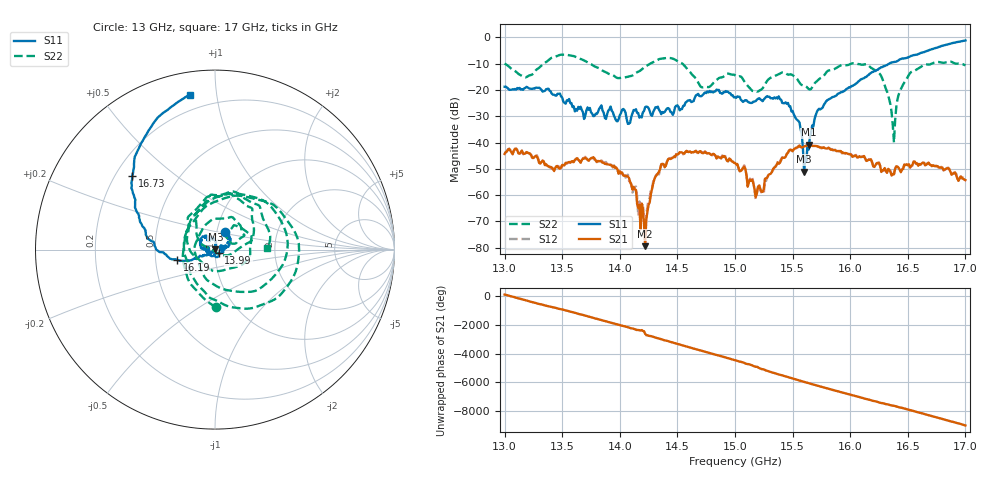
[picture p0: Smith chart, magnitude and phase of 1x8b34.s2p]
!Keysight Technologies,P9374A,MY57211807,A.19.30.04
!Date: Friday, May 08, 2026 14:27:40
!Correction: S11(C  2-Port  )
!S21(C  2-Port  )
!S12(C  2-Port  )
!S22(C  2-Port  )
!S2P File: Measurements: S11, S21, S12, S22:
# Hz S  dB  R 50
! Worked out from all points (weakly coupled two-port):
!   401 points, 13 GHz to 17 GHz, reference 50 ohm
!   highest |S21| = -40.79 dB at 15.64 GHz (marker M1); lowest = -79.4 dB at 14.22 GHz (marker M2)
!   lowest |S11| = -51.0 dB at 15.6 GHz (marker M3), VSWR 1.01, Z = 50.2 + j0.171 ohm
!   |S11| at or under -10 dB: start of sweep to 16.34 GHz
!   |S22| runs from -40.0 to -6.6 dB; largest |S21 - S12| = 0.00051
!   S11 on the Smith chart (normalised r, x): 13 GHz: 1.10, +0.22; 13.99 GHz: 1.04, -0.04; 16.19 GHz: 0.65, -0.08; 16.73 GHz: 0.27, +0.36; 17 GHz: 0.12, +0.84
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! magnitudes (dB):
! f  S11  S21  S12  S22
! 13 GHz  -18.8  -44.3  -44.1  -9.9
! 13.18 GHz  -19.2  -44.1  -44.3  -15.2
! 13.42 GHz  -21.8  -50.2  -50.2  -7.6
! 13.67 GHz  -27.6  -46.7  -46.5  -8.4
! 13.99 GHz  -31.1  -51.9  -51.2  -15.5
! 14.22 GHz  -26.5  -79.4  -72.4  -11.1
! 14.34 GHz  -27.5  -51.0  -52.1  -8.3
! 14.72 GHz  -21.9  -44.1  -43.8  -19.0
! 15 GHz  -22.8  -47.7  -48.1  -14.4
! 15.23 GHz  -23.9  -58.6  -59.0  -19.8
! 15.46 GHz  -24.9  -43.8  -43.9  -14.2
! 15.56 GHz  -32.4  -41.2  -41.1  -17.2
! 15.6 GHz  -51.0  -41.5  -41.4  -18.3
! 15.64 GHz  -42.6  -40.8  -40.8  -19.7
! 15.67 GHz  -33.5  -41.2  -41.3  -19.0
! 15.8 GHz  -23.9  -42.3  -42.0  -12.9
! 16.19 GHz  -13.2  -47.4  -47.6  -11.8
! 16.34 GHz  -10.0  -50.4  -50.4  -23.7
! 16.38 GHz  -9.4  -52.1  -52.0  -40.0
! 16.51 GHz  -7.4  -48.2  -48.5  -14.2
! 16.73 GHz  -4.2  -49.0  -48.8  -9.6
! 17 GHz  -1.2  -54.3  -54.5  -10.7
